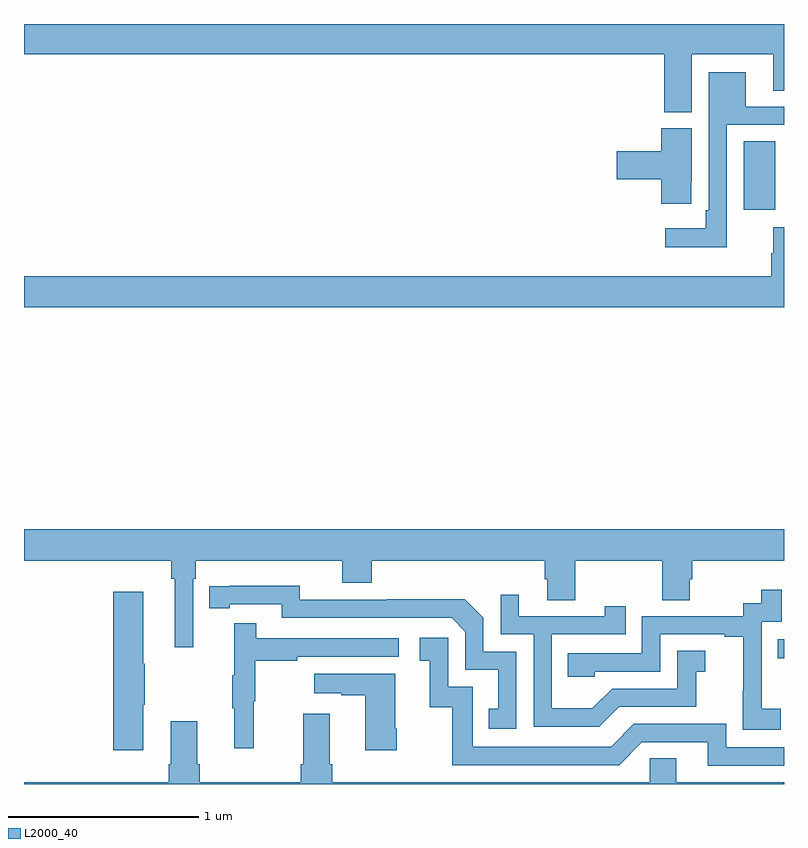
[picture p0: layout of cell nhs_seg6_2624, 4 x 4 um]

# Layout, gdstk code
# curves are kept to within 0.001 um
import gdstk
lib = gdstk.Library(unit=1e-6, precision=1e-09)
def R(c, l, rs):  # rectangles x0, y0, x1, y1
    for r in rs: c.add(gdstk.rectangle(r[:2], r[2:], *l))
def P(c, l, *ps):  # polygons
    for p in ps: c.add(gdstk.Polygon(p, *l))
L2000_40 = (2000, 40)

nhs_seg6_2624 = lib.new_cell('nhs_seg6_2624')
R(nhs_seg6_2624, L2000_40, [(270.967,940.162,271,940.263), (270.788,942.522,270.955,942.884)])
P(nhs_seg6_2624, L2000_40, [(270.514,943.34),(270.944,943.34),(270.944,943.15),(271,943.15),(271,943.5),(267,943.5),(267,943.34),(270.371,943.34),(270.371,943.036),(270.514,943.036)],
  [(270.699,942.969),(271,942.969),(271,943.065),(270.799,943.065),(270.799,943.246),(270.603,943.246),(270.603,942.52),(270.587,942.52),(270.587,942.424),(270.375,942.424),(270.375,942.326),(270.699,942.326)],
  [(270.513,942.667),(270.514,942.667),(270.514,942.951),(270.353,942.951),(270.353,942.83),(270.12,942.83),(270.12,942.683),(270.353,942.683),(270.353,942.555),(270.513,942.555)],
  [(271,942.43),(270.944,942.43),(270.944,942.293),(270.932,942.293),(270.932,942.172),(267,942.172),(267,942.008),(271,942.008)],
  [(267.891,940.58),(267.905,940.58),(267.905,940.676),(268.676,940.676),(268.676,940.559),(268.829,940.559),(268.829,940.676),(269.741,940.676),(269.741,940.578),(269.753,940.578),(269.753,940.468),(269.901,940.468),(269.901,940.676),(270.358,940.676),(270.358,940.468),(270.505,940.468),(270.505,940.578),(270.518,940.578),(270.518,940.676),(271,940.676),(271,940.84),(267,940.84),(267,940.676),(267.775,940.676),(267.775,940.58),(267.794,940.58),(267.794,940.221),(267.891,940.221)],
  [(269.592,940.197),(269.418,940.197),(269.418,940.374),(269.32,940.472),(268.912,940.472),(268.912,940.47),(268.452,940.47),(268.452,940.543),(267.976,940.542),(267.976,940.426),(268.084,940.426),(268.084,940.446),(268.356,940.446),(268.356,940.374),(269.25,940.374),(269.322,940.302),(269.322,940.101),(269.495,940.101),(269.495,939.897),(269.446,939.897),(269.446,939.792),(269.592,939.792)],
  [(270.982,939.895),(270.884,939.895),(270.884,940.124),(270.882,940.124),(270.882,940.353),(270.987,940.353),(270.987,940.522),(270.879,940.522),(270.879,940.452),(270.786,940.452),(270.786,940.383),(270.252,940.383),(270.252,940.188),(269.863,940.188),(269.863,940.065),(270.003,940.065),(270.003,940.092),(270.348,940.092),(270.348,940.287),(270.689,940.287),(270.689,940.275),(270.785,940.275),(270.785,939.991),(270.784,939.991),(270.784,939.785),(270.982,939.785)],
  [(267.628,939.916),(267.636,939.916),(267.636,940.133),(267.628,940.133),(267.628,940.513),(267.47,940.513),(267.47,939.678),(267.628,939.678)],
  [(270.133,939.906),(270.537,939.906),(270.537,940.091),(270.586,940.091),(270.586,940.201),(270.438,940.201),(270.438,940.002),(270.096,940.002),(269.992,939.898),(269.778,939.898),(269.778,940.287),(270.167,940.287),(270.167,940.435),(270.056,940.435),(270.056,940.383),(269.605,940.383),(269.605,940.495),(269.508,940.495),(269.508,940.287),(269.682,940.287),(269.682,939.801),(270.028,939.801)],
  [(268.208,939.936),(268.216,939.936),(268.216,940.15),(268.439,940.15),(268.439,940.17),(268.972,940.17),(268.972,940.266),(268.223,940.266),(268.223,940.345),(268.106,940.345),(268.106,940.073),(268.095,940.073),(268.095,939.899),(268.106,939.899),(268.106,939.687),(268.208,939.687)],
  [(271,939.693),(270.696,939.693),(270.696,939.816),(270.21,939.816),(270.09,939.696),(269.361,939.696),(269.361,940.011),(269.232,940.011),(269.232,940.27),(269.082,940.27),(269.082,940.149),(269.135,940.149),(269.135,939.903),(269.253,939.903),(269.253,939.6),(270.132,939.6),(270.252,939.72),(270.599,939.72),(270.599,939.597),(271,939.597)],
  [(268.962,939.79),(268.954,939.79),(268.954,940.081),(268.527,940.081),(268.527,939.977),(268.67,939.977),(268.67,939.967),(268.796,939.967),(268.796,939.678),(268.962,939.678)],
  [(267.773,939.829),(267.773,939.604),(267.761,939.604),(267.761,939.508),(267,939.508),(267,939.5),(271,939.5),(271,939.508),(270.433,939.508),(270.433,939.635),(270.294,939.635),(270.294,939.508),(268.622,939.508),(268.622,939.604),(268.609,939.604),(268.609,939.871),(268.469,939.871),(268.469,939.604),(268.457,939.604),(268.457,939.508),(267.926,939.508),(267.926,939.604),(267.913,939.604),(267.913,939.829)])

lib.write_gds('nhs_seg6_2624.gds')
